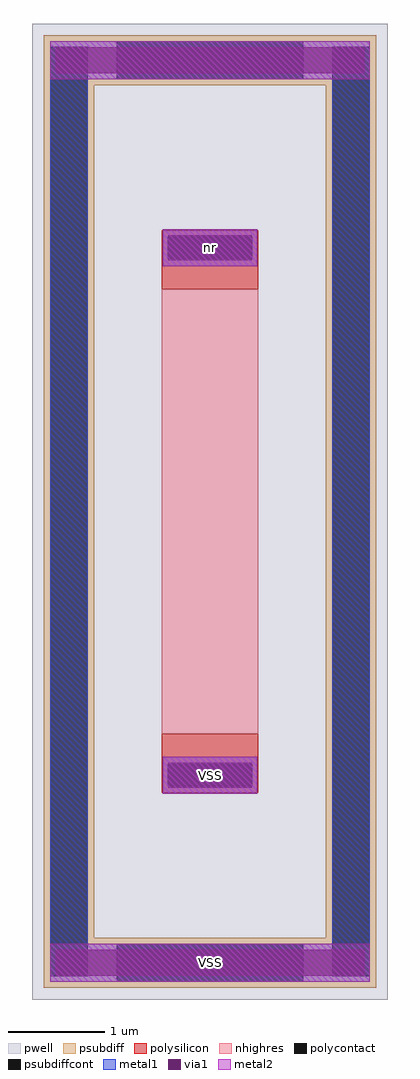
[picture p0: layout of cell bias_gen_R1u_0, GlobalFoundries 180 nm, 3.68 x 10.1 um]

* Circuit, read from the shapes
.subckt bias_gen_R1u_0 VSS nr
XR1 nr VSS VSS ppolyf_u_1k r_width=1u r_length=4.6u
.ends

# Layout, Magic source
magic
tech gf180mcuD
magscale 1 10
<< pwell >>
rect -368 -464 368 1556
<< psubdiff >>
rect -344 -440 344 -336
rect -344 1428 344 1532
rect -344 -336 -240 1428
rect 240 -336 344 1428
<< polysilicon >>
rect -100 1006 100 1128
rect -100 -36 100 86
<< nhighres >>
rect -100 86 100 1006
<< psubdiffcont >>
rect -331 -416 -253 1508
rect 253 -416 331 1508
rect -193 1441 193 1519
rect -193 -427 193 -349
<< polycontact >>
rect -87 1069 87 1115
rect -87 -23 87 23
<< metal1 >>
rect -98 1069 98 1115
rect -98 -23 98 23
rect -98 -38 98 38
rect -98 1054 98 1130
rect -331 -427 331 -349
rect -331 1441 331 1519
rect -331 -427 -253 1519
rect 253 -427 331 1519
rect -331 -427 331 -349
rect -331 1441 331 1519
<< metal2 >>
rect -98 -38 98 38
rect -98 1054 98 1130
rect -331 -427 331 -349
rect -331 1441 331 1519
<< via1 >>
rect -86 -26 86 26
rect -86 1066 86 1118
rect -319 -415 319 -361
rect -319 1453 319 1507
<< labels >>
flabel metal2 s -98 -38 98 38 0 FreeSans 80 0 0 0 VSS
port 1 nsew signal bidirectional
flabel metal2 s -98 1054 98 1130 0 FreeSans 80 0 0 0 nr
port 2 nsew signal bidirectional
flabel metal2 s -331 -427 331 -349 0 FreeSans 80 0 0 0 VSS
port 1 nsew signal bidirectional
<< end >>
